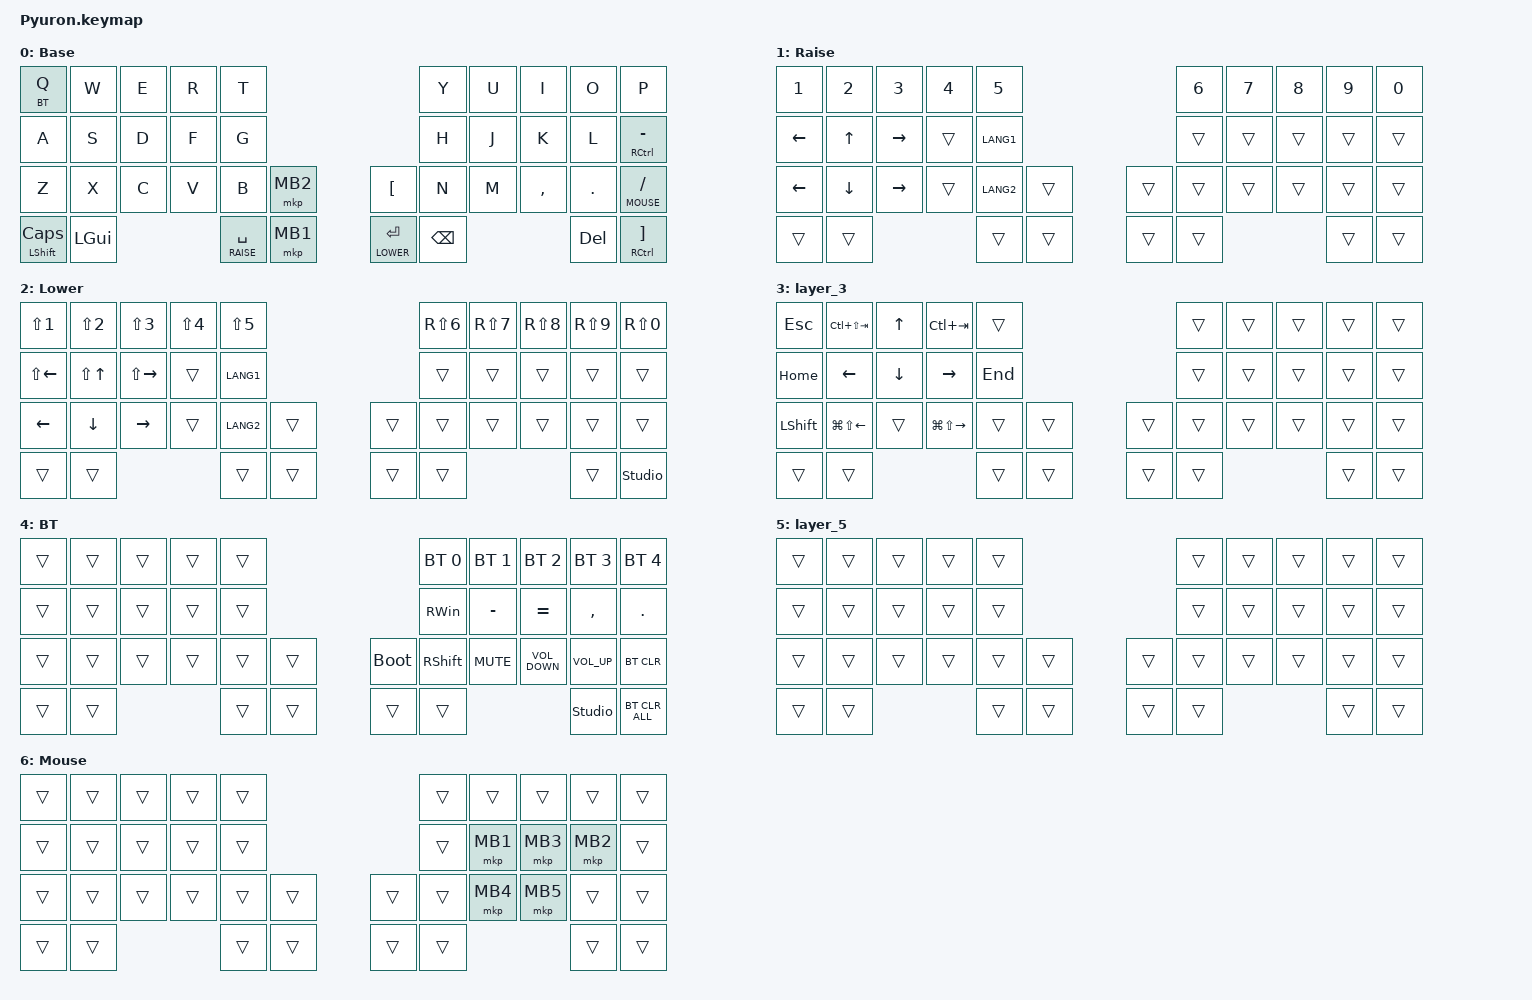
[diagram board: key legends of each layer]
#include <behaviors.dtsi>
#include <dt-bindings/zmk/bt.h>
#include <dt-bindings/zmk/keys.h>
#include <dt-bindings/zmk/pointing.h>

#define BASE   0
#define RAISE  1
#define LOWER  2
#define NAV    3
#define BT     4
#define MOUSE  6

&mt {
    flavor = "balanced";
    quick-tap-ms = <0>;
};

/ {
    // Space長押し + Enter長押し で BT層
    conditional_layers {
        compatible = "zmk,conditional-layers";
        tri_layer {
            if-layers = <RAISE LOWER>;
            then-layer = <BT>;
        };
    };

    combos {
        compatible = "zmk,combos";

        tab {
            bindings = <&kp TAB>;
            key-positions = <4 3>;
        };

        shift {
            bindings = <&kp LEFT_SHIFT>;
            key-positions = <14 13>;
        };

        leftcnt {
            bindings = <&kp LEFT_CONTROL>;
            key-positions = <2 1>;
        };
    };

    macros {
        to_layer_0: to_layer_0 {
            compatible = "zmk,behavior-macro-one-param";
            #binding-cells = <1>;
            bindings = <&to 0 &macro_param_1to1 &kp MACRO_PLACEHOLDER>;
            label = "TO_LAYER_0";
        };
    };

    lt_to_layer_0: lt_to_layer_0 {
        compatible = "zmk,behavior-hold-tap";
        label = "LAYER_TAP_TO_0";
        bindings = <&mo>, <&to_layer_0>;

        #binding-cells = <2>;
        tapping-term-ms = <200>;
    };
};

/ {
    behaviors {
    };

    keymap {
        compatible = "zmk,keymap";

        default_layer {
            display-name = "Base";
            bindings = <
&lt BT Q        &kp W     &kp E       &kp R     &kp T                                &kp Y           &kp U     &kp I     &kp O    &kp P
&kp A           &kp S     &kp D       &kp F     &kp G                                &kp H           &kp J     &kp K     &kp L    &mt RIGHT_CONTROL MINUS
&kp Z           &kp X     &kp C       &kp V     &kp B     &mkp MB2         &kp LBKT  &kp N           &kp M     &kp COMMA &kp DOT  &lt MOUSE FSLH
&mt LSHFT CAPS  &kp LGUI                        &lt RAISE SPACE  &mkp MB1 &lt LOWER RET &kp BSPC                       &kp DEL  &mt RCTRL RBKT
            >;
        };

        raise_layer {
            display-name = "Raise";
            bindings = <
&kp N1    &kp N2    &kp N3     &kp N4  &kp N5                          &kp N6  &kp N7  &kp N8  &kp N9  &kp N0
&kp LEFT  &kp UP    &kp RIGHT  &trans  &kp LANG1                       &trans  &trans  &trans  &trans  &trans
&kp LEFT  &kp DOWN  &kp RIGHT  &trans  &kp LANG2  &trans       &trans  &trans  &trans  &trans  &trans  &trans
&trans    &trans                       &trans     &trans       &trans  &trans                  &trans  &trans
            >;
        };

        lower_layer {
            display-name = "Lower";
            bindings = <
&kp LS(N1)    &kp LS(N2)  &kp LS(N3)     &kp LS(N4)  &kp LS(N5)                    &kp RS(N6)  &kp RS(N7)  &kp RS(N8)  &kp RS(N9)  &kp RS(N0)
&kp LS(LEFT)  &kp LS(UP)  &kp LS(RIGHT)  &trans      &kp LANG1                     &trans      &trans      &trans      &trans      &trans
&kp LEFT      &kp DOWN    &kp RIGHT      &trans      &kp LANG2   &trans    &trans  &trans      &trans      &trans      &trans      &trans
&trans        &trans                                 &trans      &trans    &trans  &trans                              &trans      &studio_unlock
            >;
        };

        layer_3 {
            bindings = <
&kp ESCAPE      &kp LC(LS(TAB))         &kp UP_ARROW    &kp LC(TAB)              &trans   &trans  &trans  &trans  &trans  &trans
&kp HOME        &kp LEFT_ARROW          &kp DOWN_ARROW  &kp RIGHT_ARROW          &kp END  &trans  &trans  &trans  &trans  &trans
&kp LEFT_SHIFT  &kp LG(LS(LEFT_ARROW))  &trans          &kp LG(LS(RIGHT_ARROW))  &trans   &trans  &trans  &trans  &trans  &trans
&trans          &trans                  &trans          &trans                   &trans   &trans  &trans  &trans  &trans  &trans
            >;
        };

        layer_4 {
            display-name = "BT";
            bindings = <
&trans           &trans      &trans  &trans  &trans  &bt BT_SEL 0   &bt BT_SEL 1  &bt BT_SEL 2     &bt BT_SEL 3  &bt BT_SEL 4
&trans           &trans      &trans  &trans  &trans  &kp RIGHT_WIN  &kp MINUS     &kp EQUAL        &kp COMMA     &kp PERIOD
&trans           &trans      &trans  &trans  &trans  &trans         &bootloader   &kp RIGHT_SHIFT  &kp K_MUTE    &kp C_VOLUME_DOWN
&kp C_VOLUME_UP  &bt BT_CLR  &trans  &trans  &trans  &trans         &trans        &trans           &studio_unlock &bt BT_CLR_ALL
            >;
        };

        layer_5 {
            bindings = <
&trans  &trans  &trans  &trans  &trans  &trans  &trans  &trans  &trans  &trans
&trans  &trans  &trans  &trans  &trans  &trans  &trans  &trans  &trans  &trans
&trans  &trans  &trans  &trans  &trans  &trans  &trans  &trans  &trans  &trans
&trans  &trans  &trans  &trans  &trans  &trans  &trans  &trans  &trans  &trans
            >;
        };

        mouse_layer {
            display-name = "Mouse";
            bindings = <
&trans  &trans  &trans  &trans  &trans  &trans  &trans    &trans    &trans    &trans
&trans  &trans  &trans  &trans  &trans  &trans  &mkp MB1  &mkp MB3  &mkp MB2  &trans
&trans  &trans  &trans  &trans  &trans  &trans  &trans    &trans    &mkp MB4  &mkp MB5
&trans  &trans  &trans  &trans  &trans  &trans  &trans    &trans    &trans    &trans
            >;
        };
    };
};
